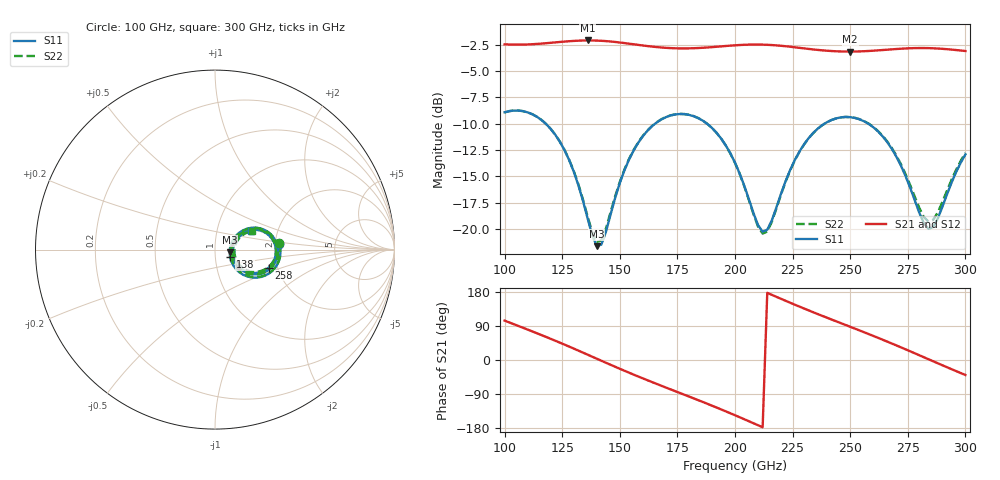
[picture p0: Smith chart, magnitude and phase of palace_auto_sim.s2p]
#  GHZ S DB R 50
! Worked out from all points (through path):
!   101 points, 100 GHz to 300 GHz, reference 50 ohm
!   highest |S21| = -2.12 dB at 136 GHz (marker M1); lowest = -3.2 dB at 250 GHz (marker M2)
!   group delay of S21, straight-line fit = 6.99 ps
!   lowest |S11| = -21.6 dB at 140 GHz (marker M3), VSWR 1.18, Z = 58.8 - j1.85 ohm
!   |S11| at or under -10 dB: 117.8 GHz to 165.4 GHz (47.56 GHz wide, 33.6 % of centre); 187.8 GHz to 238.9 GHz (51.08 GHz wide, 23.9 % of centre); 257.8 GHz to end of sweep
!   |S22| runs from -21.2 to -8.8 dB; largest |S21 - S12| = 1.2e-12
!   S11 on the Smith chart (normalised r, x): 100 GHz: 2.10, +0.16; 138 GHz: 1.18, -0.10; 258 GHz: 1.80, -0.40; 300 GHz: 1.46, +0.32
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100  -8.93 5.2  -2.48 103.9  -2.48 103.9  -8.93 5.6
110  -8.93 -13.1  -2.49 80.3  -2.49 80.3  -8.93 -12.5
118  -10.04 -27.4  -2.38 60.9  -2.38 60.9  -10.03 -26.6
126  -12.51 -39.5  -2.22 40.6  -2.22 40.6  -12.49 -38.5
134  -17.31 -41.1  -2.12 19.5  -2.12 19.5  -17.19 -39.5
136  -18.96 -36.1  -2.12 14.2  -2.12 14.2  -18.77 -34.4
138  -20.57 -26.3  -2.12 8.8  -2.12 8.8  -20.28 -24.7
140  -21.62 -10.8  -2.13 3.4  -2.13 3.4  -21.23 -10.0
142  -21.46 6.9  -2.15 -1.9  -2.15 -1.9  -21.07 6.7
148  -17.03 33.5  -2.26 -17.9  -2.26 -17.9  -16.88 32.5
156  -12.55 31.1  -2.48 -38.5  -2.48 -38.5  -12.49 30.5
168  -9.61 12.6  -2.78 -67.9  -2.78 -67.9  -9.59 12.3
184  -9.47 -15.1  -2.83 -105.9  -2.83 -105.9  -9.47 -15.3
200  -13.70 -36.9  -2.58 -145.8  -2.58 -145.8  -13.72 -37.1
212  -20.25 -7.0  -2.51 -177.5  -2.51 -177.5  -20.42 -6.8
222  -15.43 30.7  -2.66 156.2  -2.66 156.2  -15.49 31.7
234  -10.87 20.6  -2.97 125.9  -2.97 125.9  -10.88 21.6
250  -9.39 -5.4  -3.17 87.6  -3.17 87.6  -9.38 -4.1
258  -10.02 -18.6  -3.11 68.5  -3.11 68.5  -10.00 -17.0
268  -12.37 -32.5  -2.96 43.7  -2.96 43.7  -12.29 -30.4
284  -19.98 -6.2  -2.84 2.0  -2.84 2.0  -19.29 -4.9
300  -12.92 27.2  -3.12 -39.5  -3.12 -39.5  -12.77 26.2
